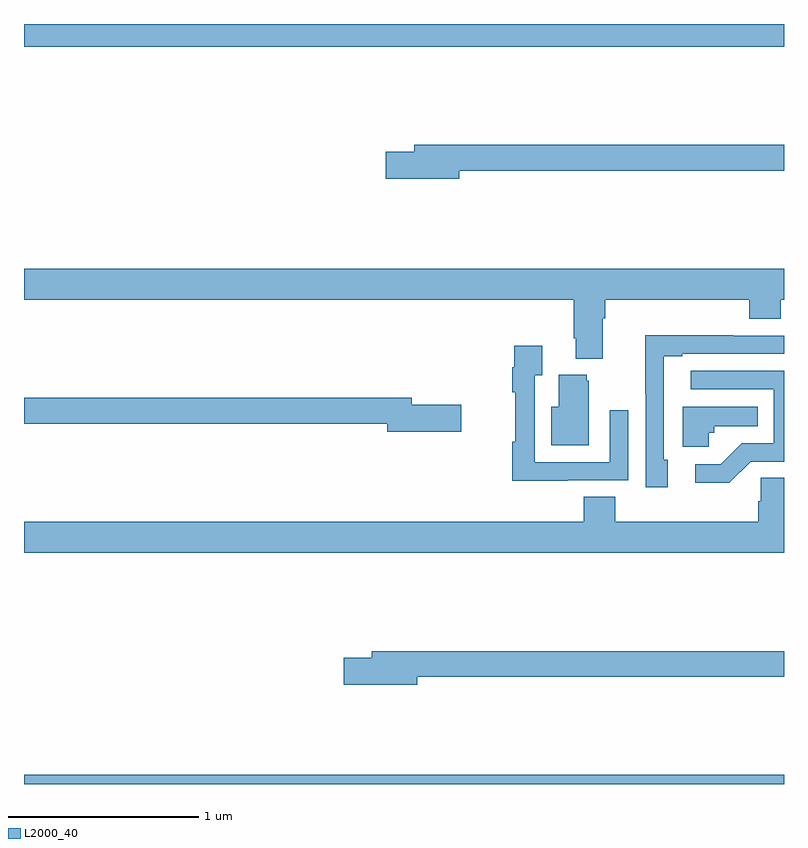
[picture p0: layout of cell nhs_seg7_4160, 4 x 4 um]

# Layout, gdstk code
import gdstk
lib = gdstk.Library(unit=1e-6, precision=1e-09)
def R(c, l, rs):  # rectangles x0, y0, x1, y1
    for r in rs: c.add(gdstk.rectangle(r[:2], r[2:], *l))
def P(c, l, *ps):  # polygons
    for p in ps: c.add(gdstk.Polygon(p, *l))
L2000_40 = (2000, 40)

nhs_seg7_4160 = lib.new_cell('nhs_seg7_4160')
R(nhs_seg7_4160, L2000_40, [(373,1066,377,1066.048), (373,1069.88,377,1070)])
P(nhs_seg7_4160, L2000_40, [(375.292,1069.228),(377,1069.228),(377,1069.364),(375.053,1069.364),(375.053,1069.328),(374.904,1069.328),(374.904,1069.186),(375.292,1069.186)],
  [(376.045,1068.452),(376.058,1068.452),(376.058,1068.548),(376.817,1068.548),(376.817,1068.449),(376.982,1068.449),(376.982,1068.548),(377,1068.548),(377,1068.712),(373,1068.712),(373,1068.548),(375.893,1068.548),(375.893,1068.346),(375.905,1068.346),(375.905,1068.239),(376.045,1068.239)],
  [(376.387,1067.706),(376.368,1067.706),(376.368,1068.252),(376.465,1068.252),(376.465,1068.264),(377,1068.264),(377,1068.36),(376.733,1068.36),(376.733,1068.362),(376.27,1068.362),(376.27,1068.055),(376.272,1068.055),(376.272,1067.562),(376.387,1067.562)],
  [(375.863,1067.598),(376.179,1067.598),(376.179,1067.968),(376.083,1067.968),(376.083,1067.694),(375.687,1067.694),(375.687,1068.151),(375.727,1068.151),(375.727,1068.307),(375.579,1068.307),(375.579,1068.194),(375.571,1068.194),(375.571,1068.062),(375.586,1068.062),(375.586,1067.801),(375.571,1067.801),(375.571,1067.597),(375.863,1067.597)],
  [(376.824,1067.697),(377,1067.697),(377,1068.174),(376.509,1068.174),(376.509,1068.078),(376.947,1068.078),(376.947,1067.793),(376.778,1067.793),(376.667,1067.682),(376.533,1067.682),(376.533,1067.585),(376.711,1067.585)],
  [(375.973,1068.123),(375.962,1068.123),(375.962,1068.154),(375.815,1068.154),(375.815,1067.986),(375.776,1067.986),(375.776,1067.783),(375.973,1067.783)],
  [(375.301,1067.996),(375.04,1067.996),(375.04,1068.032),(373,1068.032),(373,1067.896),(374.912,1067.896),(374.912,1067.854),(375.301,1067.854)],
  [(376.605,1067.85),(376.632,1067.85),(376.632,1067.882),(376.862,1067.882),(376.862,1067.986),(376.466,1067.986),(376.466,1067.774),(376.605,1067.774)],
  [(377,1067.612),(376.878,1067.612),(376.878,1067.489),(376.865,1067.489),(376.865,1067.38),(376.112,1067.38),(376.112,1067.513),(375.947,1067.513),(375.947,1067.38),(373,1067.38),(373,1067.216),(377,1067.216)],
  [(375.07,1066.564),(377,1066.564),(377,1066.7),(374.831,1066.7),(374.831,1066.664),(374.682,1066.664),(374.682,1066.522),(375.07,1066.522)])

lib.write_gds('nhs_seg7_4160.gds')
